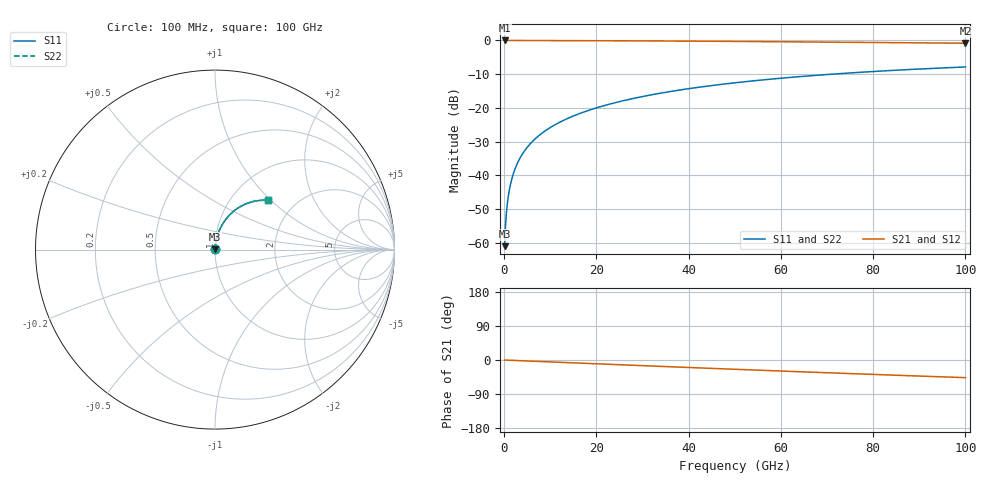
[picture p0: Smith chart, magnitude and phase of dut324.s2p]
! Touchstone file exported from HFSS 2026.1.0
!  File:  C:/ffzhzh/LocalFiles/Ansys_Project_Files/temp_train_RDL_324_1783502744_41296.aedt
!  Generated:  05:26:55 PM Jul  8, 2026
!  Design:  RDL
!  Project:  temp_train_RDL_324_1783502744_41296
! Variables:
!  h_bsmrdl = 2um
!  h_ox = 20um
!  h_rdl = 5um
!  h_sub = 80um
!  h_tmrdl = 3.81um
!  h_tsv = 80um
!  h_via = 3um
!  l_bsmrdl = 300um
!  l_sub = 513.53um
!  l_tmrdl = 113.53um
!  m_sub = 200um
!  pitch = 45.95um
!  r_tsv = 6um
!  s_tmrdl = 10um
!  w_bsmrdl = 18um
!  w_sub = 500um
!  w_tmrdl = 22.43um
!  x_tsv_center1 = 124.745um
!  x_tsv_center2 = 442.745um
!  x_tsv_center3 = 578.705um
!  x_tsv_center4 = 896.705um
!  x_tsv_center5 = 1032.665um
!  x_tsv_center6 = 1350.665um
# GHz S MA R 50.000000
! Terminal data exported
! Port[1] = TM_RDL1_1_T1
! Port[2] = TM_RDL1_1_T2
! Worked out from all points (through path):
!   1000 points, 100 MHz to 100 GHz, reference 50 ohm
!   highest |S21| = -0.01 dB at 100 MHz (marker M1); lowest = -0.8 dB at 100 GHz (marker M2)
!   group delay of S21, straight-line fit = 1.3 ps
!   lowest |S11| = -61.0 dB at 100 MHz (marker M3), VSWR 1.00, Z = 50.1 + j0.0576 ohm
!   |S11| at or under -10 dB: start of sweep to 71.15 GHz
!   |S22| runs from -61.0 to -7.9 dB; largest |S21 - S12| = 4e-15
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0.1  0.0008876 40.4  0.9993 -0.1  0.9993 -0.1  0.0008876 40.4
! Gamma 0 0 0 0
! Port Impedance 50 0 50 0
0.4  0.002324 70.4  0.9992 -0.2  0.9992 -0.2  0.002324 70.4
0.7  0.003836 77.2  0.9992 -0.4  0.9992 -0.4  0.003836 77.2
0.9  0.004857 79.5  0.9991 -0.5  0.9991 -0.5  0.004857 79.5
1.2  0.006401 81.6  0.9991 -0.6  0.9991 -0.6  0.006401 81.6
1.5  0.007953 82.8  0.9991 -0.8  0.9991 -0.8  0.007953 82.8
2  0.01054 83.8  0.999 -1.0  0.999 -1.0  0.01054 83.8
2.5  0.01314 84.4  0.9989 -1.3  0.9989 -1.3  0.01314 84.4
3.2  0.01675 84.6  0.9988 -1.6  0.9988 -1.6  0.01675 84.6
4  0.02087 84.6  0.9986 -2.1  0.9986 -2.1  0.02087 84.6
5  0.02598 84.4  0.9983 -2.6  0.9983 -2.6  0.02598 84.4
6.1  0.03156 84.1  0.998 -3.1  0.998 -3.1  0.03156 84.1
8.9  0.04561 83.0  0.997 -4.5  0.997 -4.5  0.04561 83.0
12.4  0.06295 81.5  0.9956 -6.3  0.9956 -6.3  0.06295 81.5
16.8  0.08446 79.6  0.9936 -8.5  0.9936 -8.5  0.08446 79.6
24.2  0.12 76.3  0.9894 -12.1  0.9894 -12.1  0.12 76.3
33.4  0.1628 72.0  0.9827 -16.6  0.9827 -16.6  0.1628 72.0
41.2  0.1977 68.4  0.9759 -20.4  0.9759 -20.4  0.1977 68.4
50.1  0.2356 64.3  0.9671 -24.6  0.9671 -24.6  0.2356 64.3
66.7  0.3003 56.8  0.9486 -32.2  0.9486 -32.2  0.3003 56.8
83.4  0.3568 49.6  0.9285 -39.6  0.9285 -39.6  0.3568 49.6
100  0.404 42.7  0.9088 -46.6  0.9088 -46.6  0.404 42.6
